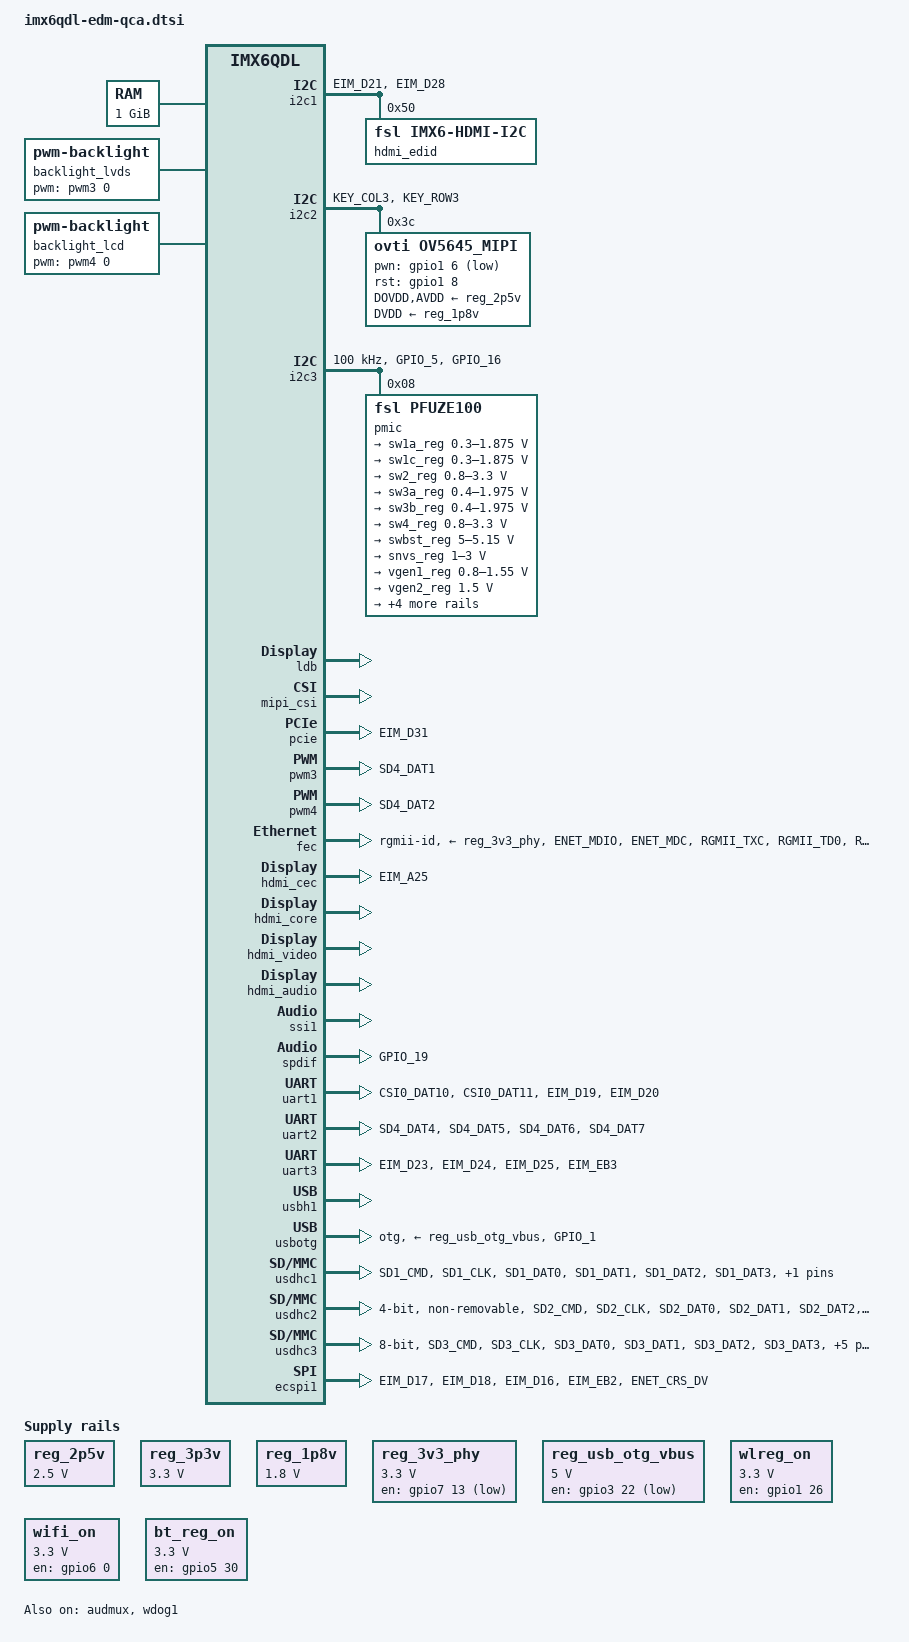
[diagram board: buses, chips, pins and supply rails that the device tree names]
/*
 * Copyright 2018 TechNexion Ltd.
 *
 * Author: Tapani Utriainen <tapani@technexion.com>
 *	   Richard Hu <richard.hu@technexion.com>
 *
 * This program is free software; you can redistribute it and/or modify
 * it under the terms of the GNU General Public License version 2 as
 * published by the Free Software Foundation.
 *
 */

#include <dt-bindings/gpio/gpio.h>

/* External GPIO */
#define EDM_EXT_GPIO_P255 gpio6 5
#define EDM_EXT_GPIO_P256 gpio6 2
#define EDM_EXT_GPIO_P257 gpio6 4
#define EDM_EXT_GPIO_P258 gpio3 27
#define EDM_EXT_GPIO_P259 gpio3 26
#define EDM_EXT_GPIO_P260 gpio6 31
#define EDM_EXT_GPIO_P261 gpio6 3
#define EDM_EXT_GPIO_P262 gpio1 24
#define EDM_EXT_GPIO_P263 gpio1 4
#define EDM_EXT_GPIO_P264 gpio7 8
#define EDM_EXT_LVDS_PWR  gpio5 31
#define EDM_EXT_USB_HUB_RESET gpio7 12

#define EDM_GNOME_GPIO_DEFS()									\
&gpio1 {											\
	gpio-line-names =									\
		"", "", "", "", "GPIO_P263", "", "", "",					\
		"GPIO_P264", "", "", "", "", "", "", "",					\
		"", "", "", "", "", "", "", "",							\
		"GPIO_P262", "", "", "", "", "", "", "";					\
												\
};												\
												\
&gpio3 {											\
	gpio-line-names =									\
		"", "", "", "", "", "", "", "",							\
		"", "", "", "", "", "", "", "",							\
		"", "", "", "", "", "", "", "",							\
		"", "", "", "", "", "", "", "";							\
												\
	pinctrl-0 = <&pinctrl_gpio3>;								\
};												\
												\
&gpio6 {											\
	gpio-line-names =									\
		"", "", "GPIO_P256", "", "", "GPIO_P255", "", "",				\
		"", "", "", "", "", "", "", "",							\
		"", "", "", "", "", "", "", "",							\
		"", "", "", "", "", "", "", "GPIO_P260";					\
												\
	pinctrl-0 = <&pinctrl_gpio6>;								\
}

#define EDM_FAIRY_GPIO_DEFS()									\
&gpio1 {											\
	gpio-line-names =									\
		"", "", "", "", "", "", "", "",							\
		"", "", "", "", "", "", "", "",							\
		"", "", "", "", "", "", "", "",							\
		"GPIO_P262", "", "", "", "", "", "", "";					\
												\
};												\
												\
&gpio3 {											\
	gpio-line-names =									\
		"", "", "", "", "", "", "", "",							\
		"", "", "", "", "", "", "", "",							\
		"", "", "", "", "", "", "", "",							\
		"", "", "GPIO_P259", "GPIO_P258", "", "", "", "";				\
												\
	pinctrl-0 = <&pinctrl_gpio3>;								\
};												\
												\
&gpio6 {											\
	gpio-line-names =									\
		"", "", "GPIO_P256", "", "GPIO_P257", "GPIO_P255", "", "",			\
		"", "", "", "", "", "", "", "",							\
		"", "", "", "", "", "", "", "",							\
		"", "", "", "", "", "", "", "GPIO_P260";					\
												\
	pinctrl-0 = <&pinctrl_gpio6>;								\
}

#define EDM_TC700_GPIO_DEFS()									\
&gpio1 {											\
	gpio-line-names =									\
		"", "", "", "", "", "", "", "",							\
		"", "", "", "", "", "", "", "",							\
		"", "", "", "", "", "", "", "",							\
		"GPIO_P262", "", "", "", "", "", "", "";					\
												\
};												\
												\
&gpio3 {											\
	gpio-line-names =									\
		"", "", "", "", "", "", "", "",							\
		"", "", "", "", "", "", "", "",							\
		"", "", "", "", "", "", "", "",							\
		"", "", "GPIO_P259", "", "", "", "", "";				\
												\
};												\
												\
&gpio6 {											\
	gpio-line-names =									\
		"", "", "", "GPIO_P261", "", "", "", "",			\
		"", "", "", "", "", "", "", "",							\
		"", "", "", "", "", "", "", "",							\
		"", "", "", "", "", "", "", "GPIO_P260";					\
												\
	pinctrl-0 = <&pinctrl_ext_gpio_tc0700>;								\
}

#define EDM_TC1000_GPIO_DEFS()									\
&gpio1 {											\
	gpio-line-names =									\
		"", "", "", "", "", "", "", "",							\
		"", "", "", "", "", "", "", "",							\
		"", "", "", "", "", "", "", "",							\
		"GPIO_P262", "", "", "", "", "", "", "";					\
												\
};												\
												\
&gpio3 {											\
	gpio-line-names =									\
		"", "", "", "", "", "", "", "",							\
		"", "", "", "", "", "", "", "",							\
		"", "", "", "", "", "", "", "",							\
		"", "", "GPIO_P259", "", "", "", "", "";				\
												\
};												\
												\
&gpio6 {											\
	gpio-line-names =									\
		"", "", "GPIO_P256", "GPIO_P261", "GPIO_P257", "GPIO_P255", "", "",			\
		"", "", "", "", "", "", "", "",							\
		"", "", "", "", "", "", "", "",							\
		"", "", "", "", "", "", "", "GPIO_P260";					\
												\
	pinctrl-0 = <&pinctrl_ext_gpio_tc1000>;								\
}

/* SAI */
#define EDM_AUDA_I2S_CHANNEL ssi1
#define EDM_AUDA_MUX_INT 1
#define EDM_AUDA_MUX_EXT 3
#define EDM_AUDA_CLK_SRC clks 201

/* Bus definitions */
#define EDM_I2CA i2c1
#define EDM_I2CB i2c2
#define EDM_I2CC i2c3

#define EDM_SPIA ecspi2
#define EDM_SPIB ecspi1

#define EDM_CANA can1
#define EDM_CANB can2

#define EDM_PCIEA pcie
#define EDM_PCIEA_RESET_GPIO gpio3 31

/ {
	aliases {
		mxcfb0 = &mxcfb1;
		mxcfb1 = &mxcfb2;
		mxcfb2 = &mxcfb3;
		mxcfb3 = &mxcfb4;
	};

	chosen {
		stdout-path = &uart1;
	};

	memory: memory {
		reg = <0x10000000 0x40000000>;
	};

	regulators {
		compatible = "simple-bus";
		#address-cells = <1>;
		#size-cells = <0>;

		reg_2p5v: regulator@0 {
			compatible = "regulator-fixed";
			reg = <0>;
			regulator-name = "2P5V";
			regulator-min-microvolt = <2500000>;
			regulator-max-microvolt = <2500000>;
			regulator-always-on;
		};

		reg_3p3v: regulator@1 {
			compatible = "regulator-fixed";
			reg = <1>;
			regulator-name = "3P3V";
			regulator-min-microvolt = <3300000>;
			regulator-max-microvolt = <3300000>;
			regulator-always-on;
		};

		reg_1p8v: 1p8v@2 {
			compatible = "regulator-fixed";
			reg = <2>;
			regulator-name = "1P8V";
			regulator-min-microvolt = <1800000>;
			regulator-max-microvolt = <1800000>;
			regulator-always-on;
		};

		reg_3v3_phy: regulator@3 {
			compatible = "regulator-fixed";
			reg = <0>;
			regulator-name = "3V3_ETN";
			regulator-min-microvolt = <3300000>;
			regulator-max-microvolt = <3300000>;
			pinctrl-names = "default";
			pinctrl-0 = <&pinctrl_enet_3v3>;
			gpio = <&gpio7 13 GPIO_ACTIVE_LOW>;
			enable-active-low;
			regulator-always-on;
		};

		reg_usb_otg_vbus: usb_otg_vbus {
			compatible = "regulator-fixed";
			regulator-name = "usb_otg_vbus";
			regulator-min-microvolt = <5000000>;
			regulator-max-microvolt = <5000000>;
			gpio = <&gpio3 22 GPIO_ACTIVE_HIGH>;
		};

		wlreg_on: fixedregulator@100 {
			compatible = "regulator-fixed";
			pinctrl-names = "default";
			pinctrl-0 = <&pinctrl_wifi_ctrl>;
			regulator-min-microvolt = <3300000>;
			regulator-max-microvolt = <3300000>;
			regulator-name = "wlreg_on";
			gpio = <&gpio1 26 GPIO_ACTIVE_HIGH>;
			enable-active-high;
			regulator-always-on;
		};

		wifi_on: wifiregulator@100 {
			compatible = "regulator-fixed";
			regulator-min-microvolt = <3300000>;
			regulator-max-microvolt = <3300000>;
			regulator-name = "wifi_on";
			gpio = <&gpio6 0 GPIO_ACTIVE_HIGH>;
			enable-active-high;
			regulator-always-on;
		};

		bt_reg_on: btreg_on {
			compatible = "regulator-fixed";
			pinctrl-names = "default";
			pinctrl-0 = <&pinctrl_bt_ctrl>;
			regulator-min-microvolt = <3300000>;
			regulator-max-microvolt = <3300000>;
			regulator-name = "btreg_on";
			gpio = <&gpio5 30 GPIO_ACTIVE_HIGH>;
			enable-active-high;
			regulator-always-on;
		};
	};

	sound-spdif {
		compatible = "fsl,imx-audio-spdif";
		model = "imx-spdif";
		spdif-controller = <&spdif>;
		spdif-out;
	};

	sound-hdmi {
		compatible = "fsl,imx6q-audio-hdmi",
			     "fsl,imx-audio-hdmi";
		model = "imx-audio-hdmi";
		hdmi-controller = <&hdmi_audio>;
	};

	mxcfb1: fb@0 {
		compatible = "fsl,mxc_sdc_fb";
		disp_dev = "ldb";
		interface_pix_fmt = "RGB666";
		default_bpp = <16>;
		int_clk = <0>;
		late_init = <0>;
		status = "okay";
	};

	mxcfb2: fb@1 {
		compatible = "fsl,mxc_sdc_fb";
		disp_dev = "hdmi";
		interface_pix_fmt = "RGB24";
		mode_str ="1920x1080M@60";
		default_bpp = <24>;
		int_clk = <0>;
		late_init = <0>;
		status = "okay";
	};

	mxcfb3: fb@2 {
		compatible = "fsl,mxc_sdc_fb";
		disp_dev = "lcd";
		interface_pix_fmt = "RGB565";
		mode_str ="CLAA-WVGA";
		default_bpp = <16>;
		int_clk = <0>;
		late_init = <0>;
		status = "disabled";
	};

	mxcfb4: fb@3 {
		compatible = "fsl,mxc_sdc_fb";
		disp_dev = "ldb";
		interface_pix_fmt = "RGB666";
		default_bpp = <16>;
		int_clk = <0>;
		late_init = <0>;
		status = "disabled";
	};

	lcd@0 {
		compatible = "fsl,lcd";
		ipu_id = <0>;
		disp_id = <0>;
		default_ifmt = "RGB24";
		pinctrl-names = "default";
		pinctrl-0 = <&pinctrl_ipu1>;
		status = "okay";
	};

	backlight_lvds {
		compatible = "pwm-backlight";
		pwms = <&pwm3 0 50000>;
		brightness-levels = <0 36 72 108 144 180 216 255>;
		default-brightness-level = <6>;
	};

	backlight_lcd {
		compatible = "pwm-backlight";
		pwms = <&pwm4 0 50000>;
		brightness-levels = <0 36 72 108 144 180 216 255>;
		default-brightness-level = <6>;
	};

	v4l2_cap_0 {
		compatible = "fsl,imx6q-v4l2-capture";
		ipu_id = <0>;
		csi_id = <0>;
		mclk_source = <0>;
		status = "okay";
	};

	v4l2_out {
		compatible = "fsl,mxc_v4l2_output";
		status = "okay";
	};
};

&i2c1 {
	pinctrl-names = "default";
	pinctrl-0 = <&pinctrl_i2c1>;
	status = "okay";

	hdmi_edid: edid@50 {
		compatible = "fsl,imx6-hdmi-i2c";
		reg = <0x50>;
	};
};

&i2c2 {
	pinctrl-names = "default";
	pinctrl-0 = <&pinctrl_i2c2>;
	status = "okay";

	ov5645_mipi: ov5645_mipi@3c {
		compatible = "ovti,ov5645_mipi";
		reg = <0x3c>;
		clocks = <&clks 200>;
		clock-names = "csi_mclk";
		DOVDD-supply = <&reg_2p5v>;
		AVDD-supply = <&reg_2p5v>;
		DVDD-supply = <&reg_1p8v>;
		pwn-gpios = <&gpio1 6 GPIO_ACTIVE_LOW>;
		rst-gpios = <&gpio1 8 GPIO_ACTIVE_HIGH>;
		ipu_id = <0>;
		csi_id = <0>;
		mclk = <24000000>;
		mclk_source = <0>;
	};
};

&i2c3 {
	clock-frequency = <100000>;
	pinctrl-names = "default";
	pinctrl-0 = <&pinctrl_i2c3>;
	status = "okay";

	pmic: pfuze100@08 {
		compatible = "fsl,pfuze100";
		reg = <0x08>;

		regulators {
			sw1a_reg: sw1ab {
				regulator-min-microvolt = <300000>;
				regulator-max-microvolt = <1875000>;
				regulator-boot-on;
				regulator-always-on;
				regulator-ramp-delay = <6250>;
			};

			sw1c_reg: sw1c {
				regulator-min-microvolt = <300000>;
				regulator-max-microvolt = <1875000>;
				regulator-boot-on;
				regulator-always-on;
				regulator-ramp-delay = <6250>;
			};

			sw2_reg: sw2 {
				regulator-min-microvolt = <800000>;
				regulator-max-microvolt = <3300000>;
				regulator-boot-on;
				regulator-always-on;
				regulator-ramp-delay = <6250>;
			};

			sw3a_reg: sw3a {
				regulator-min-microvolt = <400000>;
				regulator-max-microvolt = <1975000>;
				regulator-boot-on;
				regulator-always-on;
			};

			sw3b_reg: sw3b {
				regulator-min-microvolt = <400000>;
				regulator-max-microvolt = <1975000>;
				regulator-boot-on;
				regulator-always-on;
			};

			sw4_reg: sw4 {
				regulator-min-microvolt = <800000>;
				regulator-max-microvolt = <3300000>;
			};

			swbst_reg: swbst {
				regulator-min-microvolt = <5000000>;
				regulator-max-microvolt = <5150000>;
			};

			snvs_reg: vsnvs {
				regulator-min-microvolt = <1000000>;
				regulator-max-microvolt = <3000000>;
				regulator-boot-on;
				regulator-always-on;
			};

			vref_reg: vrefddr {
				regulator-boot-on;
				regulator-always-on;
			};

			vgen1_reg: vgen1 {
				regulator-min-microvolt = <800000>;
				regulator-max-microvolt = <1550000>;
			};

			vgen2_reg: vgen2 {
				regulator-min-microvolt = <1500000>;
				regulator-max-microvolt = <1500000>;
				regulator-boot-on;
				regulator-always-on;
			};

			vgen3_reg: vgen3 {
				regulator-min-microvolt = <1800000>;
				regulator-max-microvolt = <3300000>;
				regulator-always-on;
			};

			vgen4_reg: vgen4 {
				regulator-min-microvolt = <1800000>;
				regulator-max-microvolt = <3300000>;
				regulator-always-on;
			};

			vgen5_reg: vgen5 {
				regulator-min-microvolt = <1800000>;
				regulator-max-microvolt = <3300000>;
				regulator-always-on;
			};

			vgen6_reg: vgen6 {
				regulator-min-microvolt = <1800000>;
				regulator-max-microvolt = <3300000>;
				regulator-always-on;
			};
		};
	};
};

&iomuxc {
	pinctrl-names = "default";
	pinctrl-0 = <&pinctrl_hog_1>;

	imx6qdl-edm {
		pinctrl_hog_1: hoggrp-1 {
			fsl,pins = <
				MX6QDL_PAD_GPIO_0__CCM_CLKO1			0x130b0
				MX6QDL_PAD_EIM_D22__USB_OTG_PWR			0x80000000	/* USB Power Enable */
				MX6QDL_PAD_GPIO_2__GPIO1_IO02			0x80000000	/* USDHC1 CD */
				MX6QDL_PAD_EIM_DA9__GPIO3_IO09			0x80000000	/* uSDHC3 CD */
				MX6QDL_PAD_GPIO_0__CCM_CLKO1			0x000b0		/* SGTL5000 sys_mclk */
				MX6QDL_PAD_GPIO_6__GPIO1_IO06			0x0b0b0		/* ov5640 mipi powerdown */
				MX6QDL_PAD_GPIO_8__GPIO1_IO08			0x0b0b0		/* ov5640 mipi reset */
				MX6QDL_PAD_GPIO_3__CCM_CLKO2			0x000b0		/* ov5640 mclk */
				MX6QDL_PAD_EIM_D29__GPIO3_IO29			0x1f0b1		/* RGMII PHY reset */
				MX6QDL_PAD_ENET_RXD0__OSC32K_32K_OUT		0x000b0		/* wifi LPO 32K Hz clock */
				MX6QDL_PAD_GPIO_4__GPIO1_IO04			0x4001b0b5	/* GPIO1_04 EDM pin 263 touch irq */
				MX6QDL_PAD_SD3_RST__GPIO7_IO08			0x4001b0b5	/* GPIO7_08 EDM pin 264, touch reset */
				MX6QDL_PAD_CSI0_DAT13__GPIO5_IO31		0x4001b0b5	/* GPIO5_31 LVDS POWER */
				MX6QDL_PAD_GPIO_17__GPIO7_IO12			0x4001b0b5	/* GPIO7_12 USB Hub reset*/
				MX6QDL_PAD_EIM_BCLK__GPIO6_IO31			0x4001b0b5	/* GPIO6_31 EDM pin 260 */
				MX6QDL_PAD_EIM_D26__GPIO3_IO26			0x4001b0b5	/* GPIO3_26 EDM pin 259 */
				MX6QDL_PAD_ENET_RX_ER__GPIO1_IO24		0x4001b0b5	/* GPIO1_24 EDM pin 262 */
			>;
		};

		pinctrl_wifi_ctrl: wifi_ctrlgrp {
			fsl,pins = <
				MX6QDL_PAD_CSI0_DAT14__GPIO6_IO00	0x000b0		/* WIFI_ON, wifi-power */
				MX6QDL_PAD_ENET_RXD1__GPIO1_IO26	0x000b0		/* wifi-reg-on */
				MX6QDL_PAD_ENET_TXD1__GPIO1_IO29	0x80000000	/* wifi-host-wake - input */
			>;
		};

		pinctrl_bt_ctrl: bt_ctrlgrp {
			fsl,pins = <
				MX6QDL_PAD_CSI0_DAT12__GPIO5_IO30	0x000b0		/* BT_RST_N */
				MX6QDL_PAD_CSI0_VSYNC__GPIO5_IO21	0x000b0		/* BT_WAKE - output */
				MX6QDL_PAD_CSI0_DATA_EN__GPIO5_IO20	0x80000000	/* BT_HOST_WAKE - input */
			>;
		};

		pinctrl_pcie_reset: pciegrp {
			fsl,pins = <
				MX6QDL_PAD_EIM_D31__GPIO3_IO31 0x130b0			/* PCIE_nRST */
			>;
		};

		pinctrl_audmux: audmuxgrp {
			fsl,pins = <
				MX6QDL_PAD_CSI0_DAT7__AUD3_RXD		0x130b0
				MX6QDL_PAD_CSI0_DAT4__AUD3_TXC		0x130b0
				MX6QDL_PAD_CSI0_DAT5__AUD3_TXD		0x110b0
				MX6QDL_PAD_CSI0_DAT6__AUD3_TXFS		0x130b0
			>;
		};

		pinctrl_ecspi1: ecspi1grp {
			fsl,pins = <
				MX6QDL_PAD_EIM_D17__ECSPI1_MISO 0x100b1
				MX6QDL_PAD_EIM_D18__ECSPI1_MOSI 0x100b1
				MX6QDL_PAD_EIM_D16__ECSPI1_SCLK 0x100b1
				MX6QDL_PAD_EIM_EB2__GPIO2_IO30  0x000f0b0 /* cs0 */
				MX6QDL_PAD_ENET_CRS_DV__GPIO1_IO25 0x000f0b0 /* cs1 */
			>;
		};

		pinctrl_enet: enetgrp {
			fsl,pins = <
				MX6QDL_PAD_ENET_MDIO__ENET_MDIO		0x1b0b0
				MX6QDL_PAD_ENET_MDC__ENET_MDC		0x1b0b0
				MX6QDL_PAD_RGMII_TXC__RGMII_TXC		0x1b0b0
				MX6QDL_PAD_RGMII_TD0__RGMII_TD0		0x1b0b0
				MX6QDL_PAD_RGMII_TD1__RGMII_TD1		0x1b0b0
				MX6QDL_PAD_RGMII_TD2__RGMII_TD2		0x1b0b0
				MX6QDL_PAD_RGMII_TD3__RGMII_TD3		0x1b0b0
				MX6QDL_PAD_RGMII_TX_CTL__RGMII_TX_CTL	0x1b0b0
				MX6QDL_PAD_ENET_REF_CLK__ENET_TX_CLK	0x1b0b0
				MX6QDL_PAD_RGMII_RXC__RGMII_RXC		0x1b0b0
				MX6QDL_PAD_RGMII_RD0__RGMII_RD0		0x1b0b0
				MX6QDL_PAD_RGMII_RD1__RGMII_RD1		0x1b0b0
				MX6QDL_PAD_RGMII_RD2__RGMII_RD2		0x1b0b0
				MX6QDL_PAD_RGMII_RD3__RGMII_RD3		0x1b0b0
				MX6QDL_PAD_RGMII_RX_CTL__RGMII_RX_CTL	0x1b0b0
			>;
		};

		pinctrl_flexcan1: flexcan1grp {
			fsl,pins = <
				MX6QDL_PAD_KEY_ROW2__FLEXCAN1_RX 0x80000000
				MX6QDL_PAD_KEY_COL2__FLEXCAN1_TX 0x80000000
			>;
		};

		pinctrl_flexcan2: flexcan2grp {
			fsl,pins = <
				MX6QDL_PAD_KEY_COL4__FLEXCAN2_TX 0x80000000
				MX6QDL_PAD_KEY_ROW4__FLEXCAN2_RX 0x80000000
			>;
		};

		pinctrl_i2c1: i2c1grp {
			fsl,pins = <
				MX6QDL_PAD_EIM_D21__I2C1_SCL		0x4001b8b1
				MX6QDL_PAD_EIM_D28__I2C1_SDA		0x4001b8b1
			>;
		};

		pinctrl_i2c2: i2c2grp {
			fsl,pins = <
				MX6QDL_PAD_KEY_COL3__I2C2_SCL		0x4001b8b1
				MX6QDL_PAD_KEY_ROW3__I2C2_SDA		0x4001b8b1
			>;
		};

		pinctrl_i2c3: i2c3grp {
			fsl,pins = <
				MX6QDL_PAD_GPIO_5__I2C3_SCL		0x4001b8b1
				MX6QDL_PAD_GPIO_16__I2C3_SDA		0x4001b8b1
			>;
		};

		pinctrl_ipu1: ipu1grp {
			fsl,pins = <
				MX6QDL_PAD_DI0_DISP_CLK__IPU1_DI0_DISP_CLK 0x58
				MX6QDL_PAD_DI0_PIN15__IPU1_DI0_PIN15       0x58
				MX6QDL_PAD_DI0_PIN2__IPU1_DI0_PIN02        0x58
				MX6QDL_PAD_DI0_PIN3__IPU1_DI0_PIN03        0x58
				MX6QDL_PAD_DI0_PIN4__IPU1_DI0_PIN04        0x58
				MX6QDL_PAD_DISP0_DAT0__IPU1_DISP0_DATA00   0x58
				MX6QDL_PAD_DISP0_DAT1__IPU1_DISP0_DATA01   0x58
				MX6QDL_PAD_DISP0_DAT2__IPU1_DISP0_DATA02   0x58
				MX6QDL_PAD_DISP0_DAT3__IPU1_DISP0_DATA03   0x58
				MX6QDL_PAD_DISP0_DAT4__IPU1_DISP0_DATA04   0x58
				MX6QDL_PAD_DISP0_DAT5__IPU1_DISP0_DATA05   0x58
				MX6QDL_PAD_DISP0_DAT6__IPU1_DISP0_DATA06   0x58
				MX6QDL_PAD_DISP0_DAT7__IPU1_DISP0_DATA07   0x58
				MX6QDL_PAD_DISP0_DAT8__IPU1_DISP0_DATA08   0x58
				MX6QDL_PAD_DISP0_DAT9__IPU1_DISP0_DATA09   0x58
				MX6QDL_PAD_DISP0_DAT10__IPU1_DISP0_DATA10  0x58
				MX6QDL_PAD_DISP0_DAT11__IPU1_DISP0_DATA11  0x58
				MX6QDL_PAD_DISP0_DAT12__IPU1_DISP0_DATA12  0x58
				MX6QDL_PAD_DISP0_DAT13__IPU1_DISP0_DATA13  0x58
				MX6QDL_PAD_DISP0_DAT14__IPU1_DISP0_DATA14  0x58
				MX6QDL_PAD_DISP0_DAT15__IPU1_DISP0_DATA15  0x58
				MX6QDL_PAD_DISP0_DAT16__IPU1_DISP0_DATA16  0x58
				MX6QDL_PAD_DISP0_DAT17__IPU1_DISP0_DATA17  0x58
				MX6QDL_PAD_DISP0_DAT18__IPU1_DISP0_DATA18  0x58
				MX6QDL_PAD_DISP0_DAT19__IPU1_DISP0_DATA19  0x58
				MX6QDL_PAD_DISP0_DAT20__IPU1_DISP0_DATA20  0x58
				MX6QDL_PAD_DISP0_DAT21__IPU1_DISP0_DATA21  0x58
				MX6QDL_PAD_DISP0_DAT22__IPU1_DISP0_DATA22  0x58
				MX6QDL_PAD_DISP0_DAT23__IPU1_DISP0_DATA23  0x58
			>;
		};

		pinctrl_pwm3: pwm3grp {
			fsl,pins = <
				MX6QDL_PAD_SD4_DAT1__PWM3_OUT 0x1b0b1
			>;
		};

		pinctrl_pwm4: pwm4grp {
			fsl,pins = <
				MX6QDL_PAD_SD4_DAT2__PWM4_OUT 0x1b0b1
			>;
		};

		pinctrl_spdif: spdifgrp {
			fsl,pins = <
				MX6QDL_PAD_GPIO_19__SPDIF_OUT		0x1b0b0
			>;
		};

		pinctrl_uart1: uart1grp {
			fsl,pins = <
				MX6QDL_PAD_CSI0_DAT10__UART1_TX_DATA	0x1b0b1
				MX6QDL_PAD_CSI0_DAT11__UART1_RX_DATA	0x1b0b1
				MX6QDL_PAD_EIM_D19__UART1_CTS_B 0x1b0b1
				MX6QDL_PAD_EIM_D20__UART1_RTS_B 0x1b0b1
			>;
		};

		pinctrl_uart2: uart2grp {
			fsl,pins = <
				MX6QDL_PAD_SD4_DAT4__UART2_RX_DATA	0x1b0b1
				MX6QDL_PAD_SD4_DAT5__UART2_RTS_B	0x1b0b1
				MX6QDL_PAD_SD4_DAT6__UART2_CTS_B	0x1b0b1
				MX6QDL_PAD_SD4_DAT7__UART2_TX_DATA	0x1b0b1
			>;
		};

		pinctrl_uart3: uart3grp {
			fsl,pins = <
				MX6QDL_PAD_EIM_D23__UART3_CTS_B		0x1b0b1
				MX6QDL_PAD_EIM_D24__UART3_TX_DATA	0x1b0b1
				MX6QDL_PAD_EIM_D25__UART3_RX_DATA	0x1b0b1
				MX6QDL_PAD_EIM_EB3__UART3_RTS_B		0x1f0b1	/* EIM_EB3 is also used in boot config.
										Decrease internal pull-up resistor to 22K ohm
										to ensure it can be pulled high */
			>;
		};

		pinctrl_usbotg: usbotggrp {
			fsl,pins = <
				MX6QDL_PAD_GPIO_1__USB_OTG_ID		0x17059
			>;
		};

		pinctrl_usdhc1: usdhc1grp {
			fsl,pins = <
				MX6QDL_PAD_SD1_CMD__SD1_CMD		0x17071
				MX6QDL_PAD_SD1_CLK__SD1_CLK		0x17071
				MX6QDL_PAD_SD1_DAT0__SD1_DATA0		0x17071
				MX6QDL_PAD_SD1_DAT1__SD1_DATA1		0x17071
				MX6QDL_PAD_SD1_DAT2__SD1_DATA2		0x17071
				MX6QDL_PAD_SD1_DAT3__SD1_DATA3		0x17071
			>;
		};

		pinctrl_usdhc2: usdhc2grp {
			fsl,pins = <
				MX6QDL_PAD_SD2_CMD__SD2_CMD		0x17059
				MX6QDL_PAD_SD2_CLK__SD2_CLK		0x10059
				MX6QDL_PAD_SD2_DAT0__SD2_DATA0		0x17059
				MX6QDL_PAD_SD2_DAT1__SD2_DATA1		0x17059
				MX6QDL_PAD_SD2_DAT2__SD2_DATA2		0x17059
				MX6QDL_PAD_SD2_DAT3__SD2_DATA3		0x17059
			>;
		};

		pinctrl_usdhc3_100mhz: usdhc3grp_100mhz {
			fsl,pins = <
				MX6QDL_PAD_SD3_CMD__SD3_CMD		0x17099
				MX6QDL_PAD_SD3_CLK__SD3_CLK		0x10099
				MX6QDL_PAD_SD3_DAT0__SD3_DATA0		0x17099
				MX6QDL_PAD_SD3_DAT1__SD3_DATA1		0x17099
				MX6QDL_PAD_SD3_DAT2__SD3_DATA2		0x17099
				MX6QDL_PAD_SD3_DAT3__SD3_DATA3		0x17099
				MX6QDL_PAD_SD3_DAT4__SD3_DATA4		0x17099
				MX6QDL_PAD_SD3_DAT5__SD3_DATA5		0x17099
				MX6QDL_PAD_SD3_DAT6__SD3_DATA6		0x17099
				MX6QDL_PAD_SD3_DAT7__SD3_DATA7		0x17099
			>;
		};

		pinctrl_usdhc3_200mhz: usdhc3grp_200mhz {
			fsl,pins = <
				MX6QDL_PAD_SD3_CMD__SD3_CMD		0x170e9
				MX6QDL_PAD_SD3_CLK__SD3_CLK		0x100e9
				MX6QDL_PAD_SD3_DAT0__SD3_DATA0		0x170e9
				MX6QDL_PAD_SD3_DAT1__SD3_DATA1		0x170e9
				MX6QDL_PAD_SD3_DAT2__SD3_DATA2		0x170e9
				MX6QDL_PAD_SD3_DAT3__SD3_DATA3		0x170e9
				MX6QDL_PAD_SD3_DAT4__SD3_DATA4		0x170e9
				MX6QDL_PAD_SD3_DAT5__SD3_DATA5		0x170e9
				MX6QDL_PAD_SD3_DAT6__SD3_DATA6		0x170e9
				MX6QDL_PAD_SD3_DAT7__SD3_DATA7		0x170e9
			>;
		};

		pinctrl_enet_3v3: enet3v3grp {
			fsl,pins = <
				MX6QDL_PAD_GPIO_18__GPIO7_IO13		0x80000000
			>;
		};

		pinctrl_hdmi_cec: hdmicecgrp {
			fsl,pins = <
				MX6QDL_PAD_EIM_A25__HDMI_TX_CEC_LINE	0x1f8b0
			>;
		};

		pinctrl_gpio1: gpio1grp {
			fsl,pins = <
				MX6QDL_PAD_ENET_RX_ER__GPIO1_IO24		0x4001b0b5	/* GPIO1_24 EDM pin 262 */
			>;
		};

		pinctrl_gpio3: gpio3grp {
			fsl,pins = <
				MX6QDL_PAD_EIM_D27__GPIO3_IO27			0x4001b0b5	/* GPIO3_27 EDM pin 258 */
			>;
		};

		pinctrl_gpio6: gpio6grp {
			fsl,pins = <
				MX6QDL_PAD_CSI0_DAT19__GPIO6_IO05		0x4001b0b5	/* GPIO6_05 EDM pin 255 */
				MX6QDL_PAD_CSI0_DAT16__GPIO6_IO02		0x4001b0b5	/* GPIO6_02 EDM pin 256 */
				MX6QDL_PAD_CSI0_DAT18__GPIO6_IO04		0x4001b0b5	/* GPIO6_04 EDM pin 257 */
			>;
		};

		pinctrl_ext_gpio_tc0700: ext-gpio-grp-tc0700 {
			fsl,pins = <
				MX6QDL_PAD_CSI0_DAT17__GPIO6_IO03  0x4001b0b5 /* GPIO6_03 EDM pin 261 , TC0700's four GPIOs cannot be set together */
			>;
		};

		pinctrl_ext_gpio_tc1000: ext-gpio-grp-tc1000 {
			fsl,pins = <
				MX6QDL_PAD_CSI0_DAT19__GPIO6_IO05		0x4001b0b5	/* GPIO6_05 EDM pin 255 */
				MX6QDL_PAD_CSI0_DAT16__GPIO6_IO02		0x4001b0b5	/* GPIO6_02 EDM pin 256 */
				MX6QDL_PAD_CSI0_DAT18__GPIO6_IO04		0x4001b0b5	/* GPIO6_04 EDM pin 257 */
				MX6QDL_PAD_CSI0_DAT17__GPIO6_IO03		0x4001b0b5	/* GPIO6_03 EDM pin 261 , TC0700's four GPIOs cannot be set together */
			>;
		};
	};
};

&can1 {
	pinctrl-names = "default";
	pinctrl-0 = <&pinctrl_flexcan1>;
	status = "disabled";
};

&can2 {
	pinctrl-names = "default";
	pinctrl-0 = <&pinctrl_flexcan2>;
	status = "disabled";
};

&ldb {
	status = "okay";
	lvds-channel@0 {
		fsl,data-mapping = "spwg";
		fsl,data-width = <24>;
		primary;
		status = "okay";

		display-timings {
			native-mode = <&timing0>;
			timing0: hj070na {
				clock-frequency = <51000000>;
				hactive = <1024>;
				vactive = <600>;
				hback-porch = <90>;
				hfront-porch = <120>;
				vback-porch = <1>;
				vfront-porch = <1>;
				hsync-len = <100>;
				vsync-len = <33>;
			};
		};
	};
};

&mipi_csi {
	ipu_id = <0>;
	csi_id = <0>;
	v_channel = <0>;
	lanes = <2>;
	status = "okay";
};

&pcie {
	pinctrl-names = "default";
	pinctrl-0 = <&pinctrl_pcie_reset>;
};

&pwm3 {
	pinctrl-names = "default";
	pinctrl-0 = <&pinctrl_pwm3>;
	status = "okay";
};

&pwm4 {
	pinctrl-names = "default";
	pinctrl-0 = <&pinctrl_pwm4>;
	status = "okay";
};

&clks {
	assigned-clocks = <&clks IMX6QDL_CLK_LDB_DI0_SEL>,
			  <&clks IMX6QDL_CLK_LDB_DI1_SEL>;
	assigned-clock-parents = <&clks IMX6QDL_CLK_PLL2_PFD0_352M>,
				 <&clks IMX6QDL_CLK_PLL2_PFD0_352M>;
};

&fec {
	pinctrl-names = "default";
	pinctrl-0 = <&pinctrl_enet>;
	phy-reset-gpios = <&gpio3 29 GPIO_ACTIVE_LOW>;
	phy-supply = <&reg_3v3_phy>;
	phy-mode = "rgmii-id";
	fsl,magic-packet;
	status = "okay";
};

&hdmi_cec {
	pinctrl-names = "default";
	pinctrl-0 = <&pinctrl_hdmi_cec>;
	status = "okay";
};

&hdmi_core {
	ipu_id = <0>;
	disp_id = <1>;
	status = "okay";
};

&hdmi_video {
	fsl,phy_reg_vlev = <0x0294>;
	fsl,phy_reg_cksymtx = <0x800d>;
	status = "okay";
};

&hdmi_audio {
	status = "okay";
};

&audmux {
	pinctrl-names = "default";
	pinctrl-0 = <&pinctrl_audmux>;
	status = "okay";
};

&ssi1 {
	status = "okay";
};

&spdif {
	pinctrl-names = "default";
	pinctrl-0 = <&pinctrl_spdif>;
	assigned-clocks = <&clks IMX6QDL_CLK_SPDIF_SEL>,
			<&clks IMX6QDL_CLK_SPDIF_PODF>;
	assigned-clock-parents = <&clks IMX6QDL_CLK_PLL3_PFD3_454M>;
	assigned-clock-rates = <0>, <227368421>;
	status = "okay";
};

&snvs_poweroff {
	status = "okay";
};

&uart1 {
	pinctrl-names = "default";
	pinctrl-0 = <&pinctrl_uart1>;
	fsl,uart-has-rtscts;
	status = "okay";
};

&uart2 {
	pinctrl-names = "default";
	pinctrl-0 = <&pinctrl_uart2>;
	fsl,uart-has-rtscts;
	status = "okay";
};

&uart3 {
	pinctrl-names = "default";
	pinctrl-0 = <&pinctrl_uart3>;
	fsl,uart-has-rtscts;
	status = "okay";
};

&usbh1 {
	status = "okay";
};

&usbotg {
	vbus-supply = <&reg_usb_otg_vbus>;
	pinctrl-names = "default";
	pinctrl-0 = <&pinctrl_usbotg>;
	disable-over-current;
	dr_mode = "otg";
	status = "okay";
};

&usdhc1 { /* Baseboard microSD slot */
	pinctrl-names = "default";
	pinctrl-0 = <&pinctrl_usdhc1>;
	cd-gpios = <&gpio1 2 GPIO_ACTIVE_LOW>; /* SD1_CD J1B-203 */
	status = "okay";
};

&usdhc2 { /* Broadcom Wifi/BT  */
	pinctrl-names = "default";
	pinctrl-0 = <&pinctrl_usdhc2>;
	bus-width = <4>;
	no-1-8-v;
	keep-power-in-suspend;
	non-removable;
	pm-ignore-notify;
	status = "okay";
};

&usdhc3 { /* Module eMMC */
	pinctrl-names = "default", "state_100mhz", "state_200mhz";
	pinctrl-0 = <&pinctrl_usdhc3_100mhz>;
	pinctrl-1 = <&pinctrl_usdhc3_100mhz>;
	pinctrl-2 = <&pinctrl_usdhc3_200mhz>;
	bus-width = <8>;
	cd-gpios = <&gpio3 9 GPIO_ACTIVE_LOW>;
	status = "okay";
};

&wdog1 {
	status = "okay";
};

&ecspi1 {
	fsl,spi-num-chipselects = <2>;
	pinctrl-names = "default";
	pinctrl-0 = <&pinctrl_ecspi1>;
	cs-gpios = <&gpio2 30 GPIO_ACTIVE_HIGH>, <&gpio1 25 GPIO_ACTIVE_HIGH>;
	status = "okay";
};

